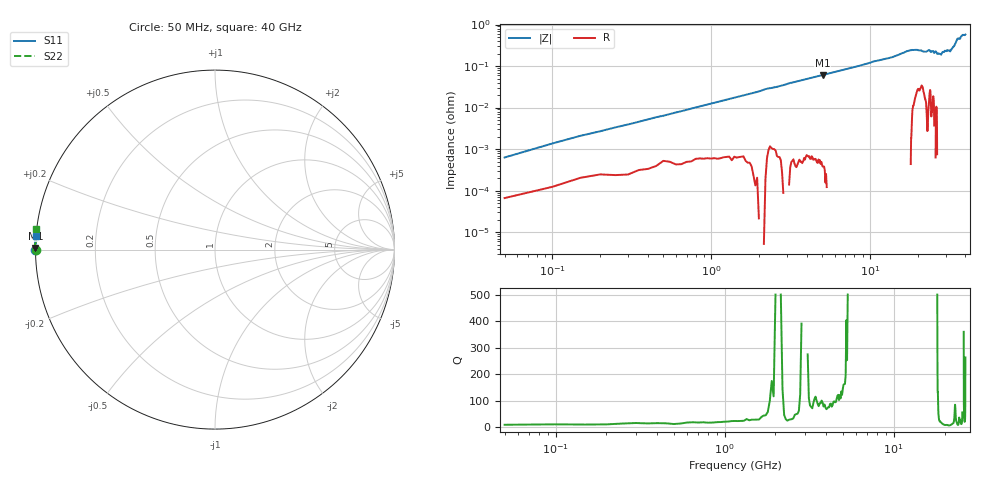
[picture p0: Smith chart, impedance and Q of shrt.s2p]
!Keysight Technologies,N5247B,MY61255062,A.15.50.07
!Date: Thursday, February 13, 2025 12:29:04
!Correction: S11(C  2-Port  )
!S21(C  2-Port  )
!S12(C  2-Port  )
!S22(C  2-Port  )
!S2P File: Measurements: S11, S21, S12, S22:
# Hz S  MA  R 50
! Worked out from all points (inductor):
!   800 points, 50 MHz to 40 GHz, reference 50 ohm
!   read as one part in shunt: L = 2.07 pH near 250 MHz
!   highest Q = 161 at 5.05 GHz (marker M1), where L = 1.92 pH
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5e7  1 -180.0  2.517e-05 84.0  3.07e-05 80.9  1 -180.0
7.5e8  1 179.9  0.0003791 86.9  0.0003743 85.8  1 179.9
1.5e9  1 179.9  0.0007366 87.8  0.0007351 87.8  1 179.8
2.2e9  1.001 179.8  0.001115 89.3  0.001117 89.1  1.001 179.7
3.15e9  1.001 179.7  0.00157 89.1  0.00157 89.3  1.001 179.5
5.05e9  1.001 179.5  0.002439 89.0  0.002442 89.0  1.001 179.2
6.75e9  1.001 179.3  0.003236 89.9  0.003239 89.9  1.001 178.9
1.05e10  1.001 178.9  0.005134 91.7  0.005141 91.8  1.001 178.2
1.34e10  1.002 178.6  0.006347 92.5  0.006346 92.5  1.001 177.8
1.72e10  1.002 178.1  0.009182 90.8  0.009178 90.8  1.001 177.1
2.005e10  1.002 177.8  0.009711 80.7  0.009711 80.7  1.001 176.7
2.195e10  1.001 177.5  0.008904 81.3  0.008911 81.3  1.002 176.3
2.365e10  1.001 177.4  0.009711 83.1  0.009713 83.1  1 176.1
2.54e10  0.9983 177.2  0.008305 84.5  0.008318 84.3  1 175.7
2.6e10  0.9969 177.2  0.008996 85.8  0.009006 85.8  0.999 175.7
2.67e10  0.9982 177.2  0.007835 89.0  0.007809 89.1  0.9999 175.5
2.805e10  1 177.2  0.007575 98.7  0.007562 99.2  1.001 175.4
3.075e10  0.9994 176.7  0.009578 110.7  0.009558 110.5  1.002 174.9
3.215e10  1.001 176.7  0.009057 121.0  0.009108 120.7  0.9989 174.6
3.335e10  0.9986 176.6  0.01122 130.0  0.01128 130.1  0.9995 174.5
3.56e10  1.001 176.3  0.01804 132.6  0.01796 132.5  1.003 174.2
4e10  1.002 175.8  0.02305 123.0  0.02288 123.3  1.002 173.3
